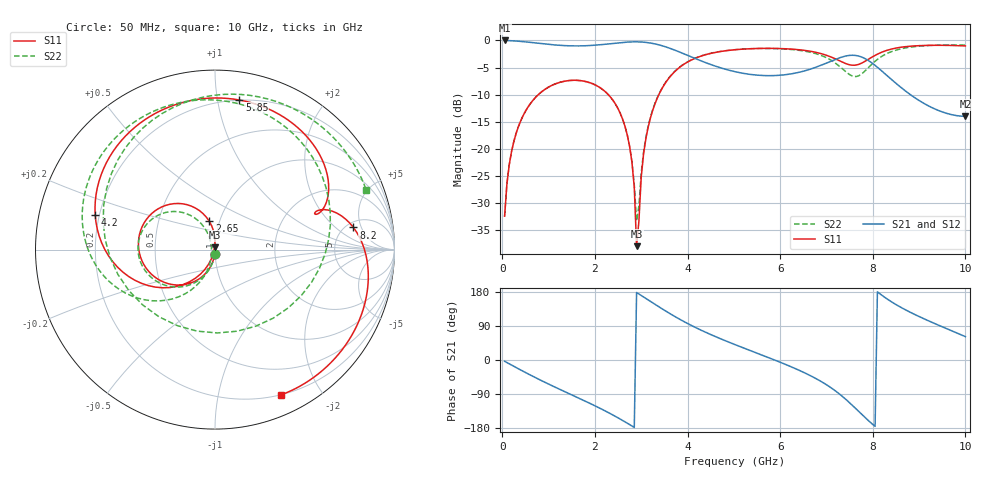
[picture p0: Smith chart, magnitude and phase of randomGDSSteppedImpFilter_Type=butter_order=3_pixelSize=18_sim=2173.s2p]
! freq	dB(S11)	phase(S11)	dB(S12)	phase(S12)
!  dB(S21)	phase(S21)	dB(S22)	phase(S22)
!S-par simulation data
#  GHz  S  DB  R 50
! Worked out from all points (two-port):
!   200 points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, 50 MHz to 10 GHz, reference 50 ohm
!   highest |S21| = -0.01 dB at 50 MHz (marker M1); lowest = -14.0 dB at 10 GHz (marker M2)
!   |S21| within 3 dB of the highest: start of sweep to 4.072 GHz; 7.357 GHz to 7.74 GHz (382.6 MHz wide, 5.07 % of centre)
!   lowest |S11| = -37.9 dB at 2.9 GHz (marker M3), VSWR 1.03, Z = 49.7 + j1.23 ohm
!   |S11| at or under -10 dB: start of sweep to 778.7 MHz; 2.29 GHz to 3.381 GHz (1.092 GHz wide, 38.5 % of centre)
!   |S22| runs from -33.3 to -0.8 dB; largest |S21 - S12| = 0
!   S11 on the Smith chart (normalised r, x): 50 MHz: 1.00, -0.05; 2.65 GHz: 0.89, +0.29; 4.2 GHz: 0.18, +0.14; 5.85 GHz: 0.20, +1.16; 8.2 GHz: 5.76, +3.65; 10 GHz: 0.20, -1.54
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0.05  -32.41 -93.6  -0.01 -3.4  -0.01 -3.4  -32.41 -93.4
0.2  -20.48 -104.2  -0.06 -13.4  -0.06 -13.4  -20.48 -103.3
0.5  -13.06 -124.6  -0.27 -33.0  -0.27 -33.0  -13.06 -122.4
1.1  -8.17 -162.3  -0.81 -69.4  -0.81 -69.4  -8.17 -157.3
1.75  -7.49 159.4  -0.99 -106.2  -0.99 -106.2  -7.49 167.7
2.65  -15.86 101.4  -0.34 -163.2  -0.34 -163.2  -15.87 117.7
2.8  -22.48 91.7  -0.27 -174.3  -0.27 -174.3  -22.39 114.9
2.85  -27.10 90.0  -0.26 -178.0  -0.26 -178.0  -26.65 121.1
2.9  -37.94 101.9  -0.26 178.1  -0.26 178.1  -33.31 154.7
3.1  -18.14 -117.0  -0.36 162.5  -0.36 162.5  -17.92 -110.3
3.4  -9.65 -140.0  -0.86 139.0  -0.86 139.0  -9.59 -127.5
4.2  -3.17 164.0  -3.46 84.1  -3.46 84.1  -3.14 -177.8
5.05  -1.70 118.3  -5.81 39.4  -5.81 39.4  -1.69 140.3
5.85  -1.47 80.8  -6.49 1.5  -6.49 1.5  -1.50 103.1
6.7  -2.07 42.4  -5.16 -44.3  -5.16 -44.3  -2.28 51.9
7.2  -3.43 23.0  -3.47 -82.1  -3.47 -82.1  -4.23 -2.1
7.6  -4.58 19.9  -2.75 -124.4  -2.75 -124.4  -6.66 -88.4
7.9  -3.51 19.3  -3.68 -159.3  -3.68 -159.3  -5.06 -165.7
8.2  -2.15 9.1  -5.67 170.5  -5.67 170.5  -2.91 143.9
8.35  -1.71 2.5  -6.80 157.8  -6.80 157.8  -2.25 126.0
9  -0.96 -26.1  -11.08 114.7  -11.08 114.7  -1.06 73.9
10  -1.02 -65.5  -14.01 61.7  -14.01 61.7  -0.86 21.4
